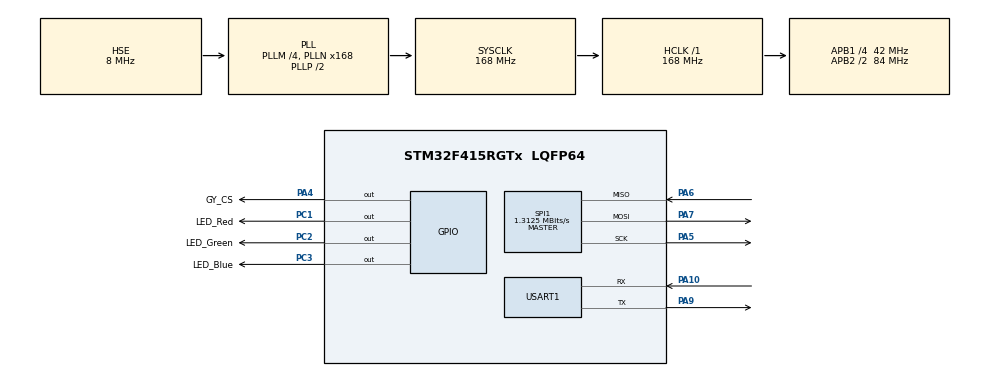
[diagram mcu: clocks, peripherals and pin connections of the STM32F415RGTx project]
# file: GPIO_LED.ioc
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Mcu.Family=STM32F4
Mcu.Name=STM32F415RGTx
Mcu.Package=LQFP64
NVIC.PriorityGroup=NVIC_PRIORITYGROUP_4
NVIC.TIM2_IRQn=true\:0\:0\:false\:false\:true\:true\:true\:true
PA10.Mode=Asynchronous
PA10.Signal=USART1_RX
PA4.GPIO_Label=GY_CS
PA4.GPIO_PuPd=GPIO_PULLUP
PA4.PinState=GPIO_PIN_SET
PA4.Signal=GPIO_Output
PA5.Mode=Full_Duplex_Master
PA5.Signal=SPI1_SCK
PA6.Mode=Full_Duplex_Master
PA6.Signal=SPI1_MISO
PA7.Mode=Full_Duplex_Master
PA7.Signal=SPI1_MOSI
PA9.Mode=Asynchronous
PA9.Signal=USART1_TX
PC1.GPIO_Label=LED_Red
PC1.PinState=GPIO_PIN_SET
PC1.Signal=GPIO_Output
PC2.GPIO_Label=LED_Green
PC2.PinState=GPIO_PIN_SET
PC2.Signal=GPIO_Output
PC3.GPIO_Label=LED_Blue
PC3.PinState=GPIO_PIN_SET
PC3.Signal=GPIO_Output
PH0-OSC_IN.Mode=HSE-External-Oscillator
PH0-OSC_IN.Signal=RCC_OSC_IN
PH1-OSC_OUT.Mode=HSE-External-Oscillator
PH1-OSC_OUT.Signal=RCC_OSC_OUT
ProjectManager.HeapSize=0x200
ProjectManager.StackSize=0x400
ProjectManager.TargetToolchain=MDK-ARM V5.32
RCC.48MHZClocksFreq_Value=84000000
RCC.AHBFreq_Value=168000000
RCC.APB1CLKDivider=RCC_HCLK_DIV4
RCC.APB1Freq_Value=42000000
RCC.APB1TimFreq_Value=84000000
RCC.APB2CLKDivider=RCC_HCLK_DIV2
RCC.APB2Freq_Value=84000000
RCC.APB2TimFreq_Value=168000000
RCC.CortexFreq_Value=168000000
RCC.HCLKFreq_Value=168000000
RCC.HSE_VALUE=8000000
RCC.HSI_VALUE=16000000
RCC.LSE_VALUE=32768
RCC.PLLM=4
RCC.PLLN=168
RCC.PLLSourceVirtual=RCC_PLLSOURCE_HSE
RCC.SYSCLKFreq_VALUE=168000000
RCC.SYSCLKSource=RCC_SYSCLKSOURCE_PLLCLK
RCC.VCOOutputFreq_Value=336000000
SPI1.BaudRatePrescaler=SPI_BAUDRATEPRESCALER_64
SPI1.CLKPolarity=SPI_POLARITY_LOW
SPI1.CalculateBaudRate=1.3125 MBits/s
SPI1.DataSize=SPI_DATASIZE_8BIT
SPI1.Direction=SPI_DIRECTION_2LINES
SPI1.Mode=SPI_MODE_MASTER
SPI1.VirtualType=VM_MASTER
TIM2.Period=10000-1
TIM2.Prescaler=8400-1
USART1.VirtualMode=VM_ASYNC
VP_TIM2_VS_ClockSourceINT.Mode=Internal
board=custom

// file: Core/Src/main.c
/* USER CODE BEGIN Header */
/**
  ******************************************************************************
  * @file           : main.c
  * @brief          : Main program body
  ******************************************************************************
  * @attention
  *
  * Copyright (c) 2023 STMicroelectronics.
  * All rights reserved.
  *
  * This software is licensed under terms that can be found in the LICENSE file
  * in the root directory of this software component.
  * If no LICENSE file comes with this software, it is provided AS-IS.
  *
  ******************************************************************************
  */
/* USER CODE END Header */
#include "main.h"
#include "spi.h"
#include "tim.h"
#include "usart.h"
#include "gpio.h"

/* USER CODE BEGIN Includes */
#include <stdio.h>
#include "MPU9250.h"
/* USER CODE END Includes */

/* USER CODE BEGIN PV */
int16_t AccData[3], GyroData[3], MagData[3];
float q[4] = {1.0f, 0.0f, 0.0f, 0.0f};
/* USER CODE END PV */

void SystemClock_Config(void);

int main(void)
{

  /* MCU Configuration--------------------------------------------------------*/

  /* Reset of all peripherals, Initializes the Flash interface and the Systick. */
  HAL_Init();

  /* Configure the system clock */
  SystemClock_Config();

  /* Initialize all configured peripherals */
  MX_GPIO_Init();
  MX_USART1_UART_Init();
  MX_SPI1_Init();
  MX_TIM2_Init();
  /* USER CODE BEGIN 2 */
  //1. MPU9250 initialization
  if(MPU9250_Init())
  {
    printf("MPU9250_Init failed\n");
  }
  else
  {
    printf("MPU9250_Init success\n");
  }
  //2. MPU9250 calibration
  Calibration_IMU();
  HAL_Delay(1000);
  HAL_TIM_Base_Start_IT(&htim2);
  /* USER CODE END 2 */

  /* Infinite loop */
  while (1)
  {

    /* USER CODE BEGIN 3 */
		// HAL_GPIO_TogglePin(LED_Red_GPIO_Port,LED_Red_Pin);
    // MPU9250_GetRawData(AccData, GyroData, MagData);

    // printf("acc_x=%lf,acc_y=%lf,acc_z=%lf\r\n",
    // ((int16_t)AccData[0]-Accel_x_bias)/accel_sensitivity, ((int16_t)AccData[1]-Accel_y_bias)/accel_sensitivity, ((int16_t)AccData[2]-Accel_z_bias)/accel_sensitivity);

		//HAL_Delay(500);
  }
  /* USER CODE END 3 */
}

void SystemClock_Config(void)
{
  RCC_OscInitTypeDef RCC_OscInitStruct = {0};
  RCC_ClkInitTypeDef RCC_ClkInitStruct = {0};

  /** Configure the main internal regulator output voltage
  */
  __HAL_RCC_PWR_CLK_ENABLE();
  __HAL_PWR_VOLTAGESCALING_CONFIG(PWR_REGULATOR_VOLTAGE_SCALE1);

  /** Initializes the RCC Oscillators according to the specified parameters
  * in the RCC_OscInitTypeDef structure.
  */
  RCC_OscInitStruct.OscillatorType = RCC_OSCILLATORTYPE_HSE;
  RCC_OscInitStruct.HSEState = RCC_HSE_ON;
  RCC_OscInitStruct.PLL.PLLState = RCC_PLL_ON;
  RCC_OscInitStruct.PLL.PLLSource = RCC_PLLSOURCE_HSE;
  RCC_OscInitStruct.PLL.PLLM = 4;
  RCC_OscInitStruct.PLL.PLLN = 168;
  RCC_OscInitStruct.PLL.PLLP = RCC_PLLP_DIV2;
  RCC_OscInitStruct.PLL.PLLQ = 4;
  if (HAL_RCC_OscConfig(&RCC_OscInitStruct) != HAL_OK)
  {
    Error_Handler();
  }

  /** Initializes the CPU, AHB and APB buses clocks
  */
  RCC_ClkInitStruct.ClockType = RCC_CLOCKTYPE_HCLK|RCC_CLOCKTYPE_SYSCLK
                              |RCC_CLOCKTYPE_PCLK1|RCC_CLOCKTYPE_PCLK2;
  RCC_ClkInitStruct.SYSCLKSource = RCC_SYSCLKSOURCE_PLLCLK;
  RCC_ClkInitStruct.AHBCLKDivider = RCC_SYSCLK_DIV1;
  RCC_ClkInitStruct.APB1CLKDivider = RCC_HCLK_DIV4;
  RCC_ClkInitStruct.APB2CLKDivider = RCC_HCLK_DIV2;

  if (HAL_RCC_ClockConfig(&RCC_ClkInitStruct, FLASH_LATENCY_5) != HAL_OK)
  {
    Error_Handler();
  }
}

/* USER CODE BEGIN 4 */
void HAL_TIM_PeriodElapsedCallback(TIM_HandleTypeDef *htim)
{
  if(htim->Instance == htim2.Instance)
  {
    // HAL_GPIO_TogglePin(LED_Green_GPIO_Port, LED_Green_Pin);
    // int16_t time = HAL_GetTick();
    // printf("%d\n",time);
    Process_IMU();
    Quaternion_to_EulerAngle(q0, q1, q2, q3);

    printf("roll=%lf,pitch=%lf,yaw=%lf\r\n", roll, pitch, yaw);
  }
}
/* USER CODE END 4 */

void Error_Handler(void)
{
  __disable_irq();
  while (1)
  {
  }
}
